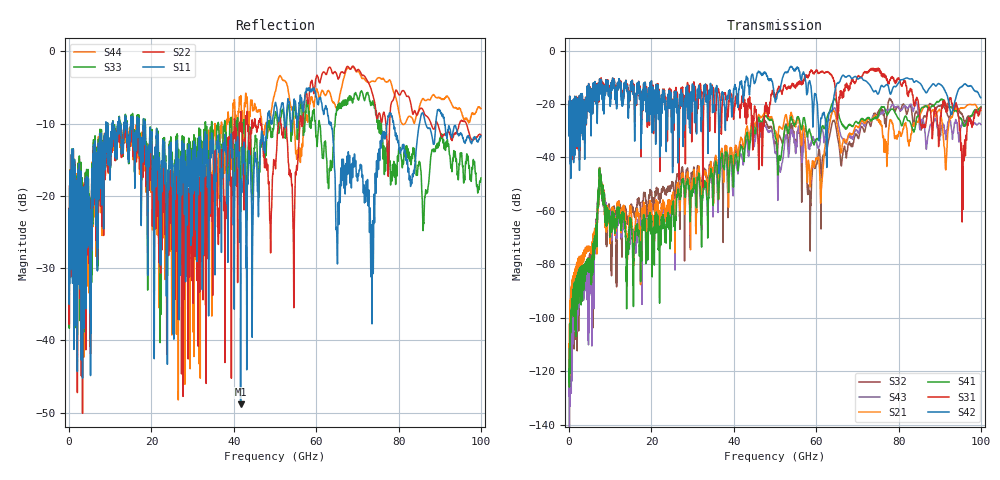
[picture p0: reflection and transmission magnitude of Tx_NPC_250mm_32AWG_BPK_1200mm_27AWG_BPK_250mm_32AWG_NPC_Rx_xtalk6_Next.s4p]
! Info: Touchstone file created by Circ.  Input file=Tx_NPC_250mm_32AWG_BPK_1200mm_27AWG_BPK_250mm_32AWG_NPC_Rx.circ
# Hz S RI R 50
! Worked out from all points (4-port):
!   10000 points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, 10 MHz to 100 GHz, reference 50 ohm
!   strongest paths, dB at 10 MHz, 25.01 GHz, 50.01 GHz, 75.01 GHz, 100 GHz:
!     S42: -26.4, -19.9, -18.4, -16.3, -17.6
!     S31: -26.4, -18.6, -16.8, -6.9, -21.5
!     S41: -119.3, -58.2, -31.8, -24.3, -21.2
!     S21: -118.9, -54.0, -30.6, -25.5, -22.4
!     S43: -129.4, -54.9, -38.1, -25.2, -27.7
!     S32: -121.4, -49.1, -34.6, -23.2, -21.0
!   lowest |S11| = -48.9 dB at 41.65 GHz (marker M1), VSWR 1.01, Z = 50.3 - j0.168 ohm
!   |S11| at or under -10 dB: start of sweep to 8.95 GHz; 18.46 GHz to 47.98 GHz (29.52 GHz wide, 88.9 % of centre); 63.63 GHz to 77.28 GHz (13.65 GHz wide, 19.4 % of centre) (the widest 3 of 43)
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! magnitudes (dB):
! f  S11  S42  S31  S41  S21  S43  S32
! 10 MHz  -22.3  -26.4  -26.4  -119.3  -118.9  -129.4  -121.4
! 7.66 GHz  -16.2  -14.1  -13.7  -46.9  -47.1  -46.6  -46.6
! 17.2 GHz  -12.5  -14.2  -13.5  -72.8  -67.2  -63.2  -57.0
! 41.65 GHz  -48.9  -12.6  -20.3  -36.2  -32.8  -38.7  -35.0
! 58.33 GHz  -5.2  -11.5  -9.1  -29.4  -43.0  -36.2  -53.4
! 64.19 GHz  -12.7  -18.6  -10.8  -18.8  -22.5  -22.2  -26.3
! 100 GHz  -11.7  -17.6  -21.5  -21.2  -22.4  -27.7  -21.0
